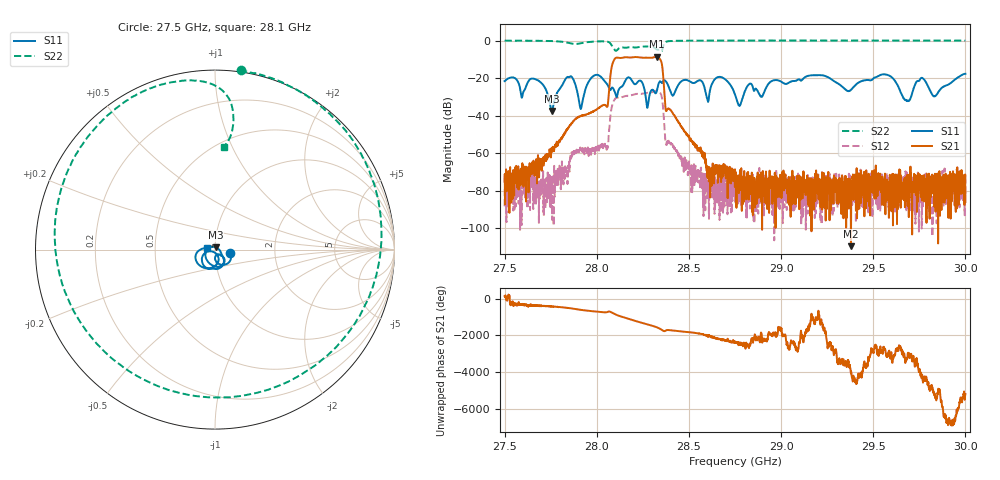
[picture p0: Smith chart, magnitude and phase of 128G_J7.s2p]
!Keysight Technologies,N5234A,MY55441357,A.10.47.05
!Date: Sunday, November 19, 2017 17:37:41
!Correction: S11(Full 2 Port(1,2))
!S21(Full 2 Port(1,2))
!S12(Full 2 Port(1,2))
!S22(Full 2 Port(1,2))
!S2P File: Measurements: S11, S21, S12, S22:
# Hz S  dB  R 50
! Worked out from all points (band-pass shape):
!   2501 points, 27.5 GHz to 30 GHz, reference 50 ohm
!   highest |S21| = -8.45 dB at 28.32 GHz (marker M1); lowest = -109.7 dB at 29.38 GHz (marker M2)
!   |S21| within 3 dB of the highest: 28.09 GHz to 28.35 GHz (262.8 MHz wide, 0.931 % of centre)
!   lowest |S11| = -37.4 dB at 27.75 GHz (marker M3), VSWR 1.03, Z = 50.3 + j1.3 ohm
!   |S11| at or under -10 dB: start of sweep to end of sweep
!   |S22| runs from -5.6 to 0.2 dB; largest |S21 - S12| = 0.39
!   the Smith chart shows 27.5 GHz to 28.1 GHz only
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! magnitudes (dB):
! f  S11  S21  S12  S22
! 27.5 GHz  -21.5  -75.2  -88.4  0.1
! 27.68 GHz  -21.0  -66.5  -74.1  0.0
! 27.75 GHz  -37.4  -58.1  -71.8  -0.1
! 27.85 GHz  -19.4  -45.5  -66.2  -1.2
! 27.92 GHz  -35.3  -40.1  -57.8  -1.2
! 27.98 GHz  -19.1  -37.9  -59.1  -0.4
! 28.05 GHz  -22.5  -34.8  -56.5  -0.4
! 28.1 GHz  -28.8  -9.1  -30.6  -5.4
! 28.32 GHz  -27.1  -8.5  -26.6  -4.6
! 28.33 GHz  -23.4  -8.8  -26.8  -4.9
! 28.38 GHz  -22.6  -36.9  -55.0  -0.3
! 28.52 GHz  -22.4  -53.8  -80.8  0.1
! 28.61 GHz  -28.3  -67.4  -74.4  0.1
! 28.67 GHz  -19.2  -67.8  -80.1  0.1
! 28.75 GHz  -28.7  -68.6  -81.7  0.1
! 29.17 GHz  -18.4  -79.8  -75.1  0.1
! 29.38 GHz  -26.2  -109.7  -84.4  0.1
! 29.58 GHz  -18.5  -83.2  -80.1  0.1
! 29.69 GHz  -32.2  -76.5  -81.9  0.1
! 29.76 GHz  -19.8  -80.0  -72.3  0.1
! 29.83 GHz  -29.7  -73.8  -80.3  0.1
! 30 GHz  -17.6  -86.0  -81.7  0.1
